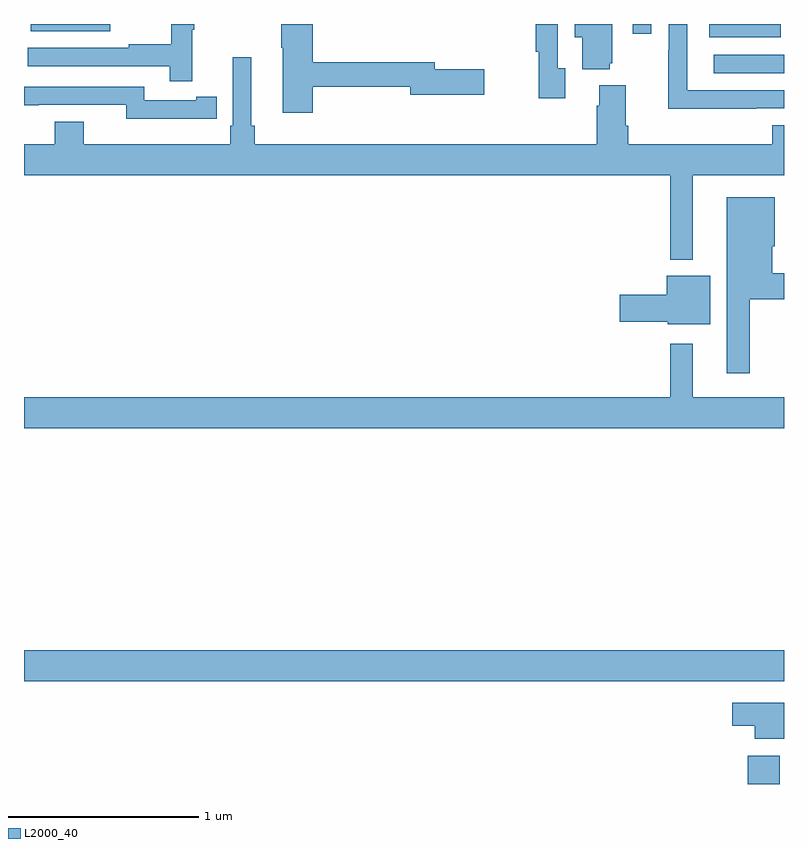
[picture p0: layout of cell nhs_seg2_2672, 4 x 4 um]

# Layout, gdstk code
import gdstk
lib = gdstk.Library(unit=1e-6, precision=1e-09)
def R(c, l, rs):  # rectangles x0, y0, x1, y1
    for r in rs: c.add(gdstk.rectangle(r[:2], r[2:], *l))
def P(c, l, *ps):  # polygons
    for p in ps: c.add(gdstk.Polygon(p, *l))
L2000_40 = (2000, 40)

nhs_seg2_2672 = lib.new_cell('nhs_seg2_2672')
R(nhs_seg2_2672, L2000_40, [(254.81,609.8,254.977,609.949), (251,610.34,255,610.504), (254.631,613.542,255,613.638), (254.606,613.73,254.984,613.8), (254.205,613.749,254.301,613.8), (251.036,613.763,251.455,613.8)])
P(nhs_seg2_2672, L2000_40, [(252.521,613.47),(253.034,613.47),(253.034,613.427),(253.423,613.427),(253.423,613.562),(253.162,613.562),(253.162,613.598),(252.521,613.598),(252.521,613.8),(252.355,613.8),(252.355,613.675),(252.362,613.675),(252.362,613.332),(252.521,613.332)],
  [(253.849,613.566),(253.809,613.566),(253.809,613.8),(253.693,613.8),(253.693,613.654),(253.708,613.654),(253.708,613.41),(253.849,613.41)],
  [(251.885,613.771),(251.896,613.771),(251.896,613.8),(251.775,613.8),(251.775,613.694),(251.551,613.694),(251.551,613.674),(251.019,613.674),(251.019,613.578),(251.767,613.578),(251.767,613.5),(251.885,613.5)],
  [(254.084,613.593),(254.095,613.593),(254.095,613.8),(253.898,613.8),(253.898,613.73),(253.937,613.73),(253.937,613.562),(254.084,613.562)],
  [(254.855,613.356),(255,613.356),(255,613.452),(254.49,613.452),(254.49,613.8),(254.394,613.8),(254.394,613.661),(254.392,613.661),(254.392,613.355),(254.855,613.355)],
  [(254.521,613.004),(255,613.004),(255,613.267),(254.939,613.267),(254.939,613.168),(254.18,613.168),(254.18,613.264),(254.167,613.264),(254.167,613.477),(254.027,613.477),(254.027,613.37),(254.015,613.37),(254.015,613.168),(252.215,613.168),(252.215,613.264),(252.196,613.264),(252.196,613.624),(252.099,613.624),(252.099,613.264),(252.086,613.264),(252.086,613.168),(251.314,613.168),(251.314,613.285),(251.162,613.285),(251.162,613.168),(251,613.168),(251,613.004),(254.4,613.004),(254.4,612.56),(254.521,612.56)],
  [(251.906,613.302),(252.014,613.302),(252.014,613.418),(251.906,613.418),(251.906,613.398),(251.634,613.398),(251.634,613.47),(251,613.47),(251,613.373),(251.078,613.373),(251.078,613.374),(251.538,613.374),(251.538,613.301),(251.906,613.301)],
  [(254.821,612.352),(255,612.352),(255,612.488),(254.938,612.488),(254.938,612.63),(254.95,612.63),(254.95,612.889),(254.699,612.889),(254.699,611.961),(254.821,611.961)],
  [(254.611,612.475),(254.384,612.475),(254.384,612.374),(254.136,612.374),(254.136,612.232),(254.388,612.232),(254.388,612.221),(254.611,612.221)],
  [(255,611.836),(254.521,611.836),(254.521,612.118),(254.4,612.118),(254.4,611.836),(251,611.836),(251,611.672),(255,611.672)],
  [(255,610.228),(254.727,610.228),(254.727,610.106),(254.846,610.106),(254.846,610.037),(255,610.037)])

lib.write_gds('nhs_seg2_2672.gds')
